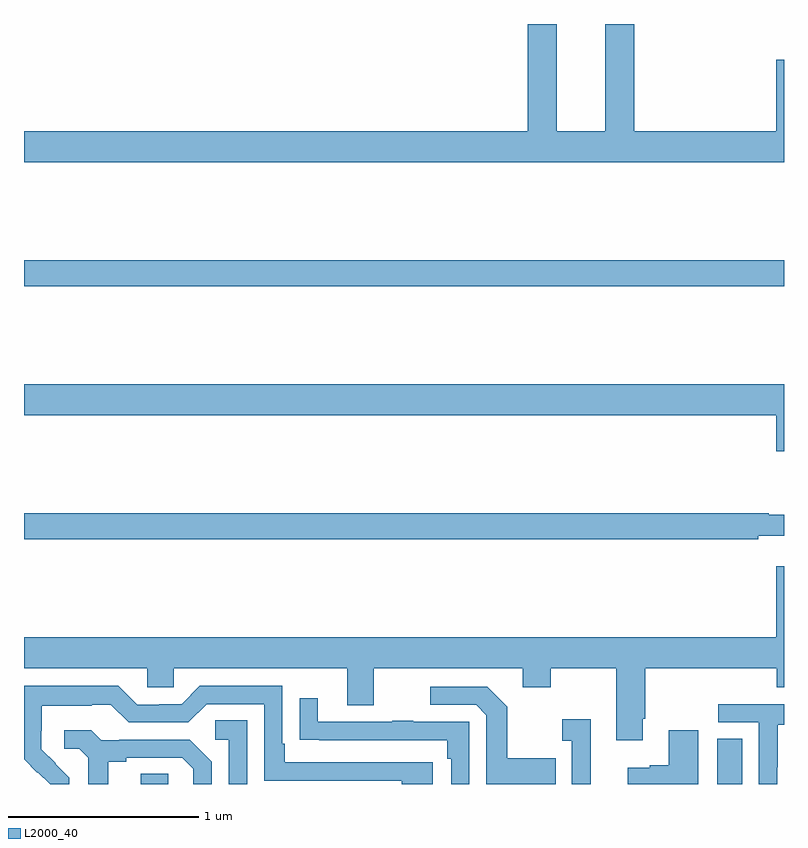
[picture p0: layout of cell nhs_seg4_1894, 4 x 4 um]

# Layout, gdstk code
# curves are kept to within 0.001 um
import gdstk
lib = gdstk.Library(unit=1e-6, precision=1e-09)
def R(c, l, rs):  # rectangles x0, y0, x1, y1
    for r in rs: c.add(gdstk.rectangle(r[:2], r[2:], *l))
def P(c, l, *ps):  # polygons
    for p in ps: c.add(gdstk.Polygon(p, *l))
L2000_40 = (2000, 40)

nhs_seg4_1894 = lib.new_cell('nhs_seg4_1894')
R(nhs_seg4_1894, L2000_40, [(209.615,774.9,209.76,774.953), (212.648,774.9,212.779,775.139), (209,777.52,213,777.656)])
P(nhs_seg4_1894, L2000_40, [(213,778.711),(212.96,778.711),(212.96,778.336),(212.213,778.336),(212.213,778.9),(212.06,778.9),(212.06,778.336),(211.804,778.336),(211.804,778.9),(211.652,778.9),(211.652,778.336),(209,778.336),(209,778.172),(213,778.172)],
  [(213,777.004),(209,777.004),(209,776.84),(212.96,776.84),(212.96,776.652),(213,776.652)],
  [(212.864,776.207),(213,776.207),(213,776.317),(212.92,776.317),(212.92,776.324),(209,776.324),(209,776.188),(212.864,776.188)],
  [(212.257,775.243),(212.27,775.243),(212.27,775.508),(212.963,775.508),(212.963,775.409),(213,775.409),(213,776.047),(212.96,776.047),(212.96,775.672),(209,775.672),(209,775.508),(209.649,775.508),(209.649,775.41),(209.787,775.41),(209.787,775.508),(210.701,775.508),(210.701,775.314),(210.841,775.314),(210.841,775.508),(211.625,775.508),(211.625,775.409),(211.773,775.409),(211.773,775.508),(212.117,775.508),(212.117,775.131),(212.257,775.131)],
  [(209.238,774.934),(209.092,775.082),(209.092,775.179),(209.094,775.179),(209.094,775.313),(209.357,775.313),(209.357,775.317),(209.457,775.317),(209.55,775.224),(209.865,775.224),(209.961,775.32),(210.264,775.32),(210.264,774.918),(210.989,774.918),(210.989,774.9),(211.15,774.9),(211.15,775.014),(210.373,775.014),(210.373,775.111),(210.36,775.111),(210.36,775.416),(209.925,775.416),(209.829,775.32),(209.711,775.32),(209.711,775.317),(209.595,775.317),(209.495,775.417),(209,775.417),(209,775.03),(209.07,774.96),(209.073,774.963),(209.137,774.9),(209.238,774.9)],
  [(211.799,775.035),(211.543,775.035),(211.543,775.307),(211.437,775.413),(211.137,775.413),(211.137,775.317),(211.38,775.317),(211.434,775.263),(211.434,774.9),(211.799,774.9)],
  [(211.344,775.227),(211.049,775.227),(211.049,775.232),(210.937,775.232),(210.937,775.227),(210.547,775.227),(210.547,775.351),(210.451,775.351),(210.451,775.132),(210.553,775.132),(210.553,775.131),(211.228,775.131),(211.228,775.034),(211.248,775.034),(211.248,774.9),(211.344,774.9)],
  [(212.964,774.988),(212.967,774.988),(212.967,775.212),(213,775.212),(213,775.32),(212.655,775.32),(212.655,775.224),(212.868,775.224),(212.868,774.9),(212.964,774.9)],
  [(211.982,775.24),(211.833,775.24),(211.833,775.127),(211.884,775.127),(211.884,774.9),(211.982,774.9)],
  [(210.174,775.235),(210.006,775.235),(210.006,775.134),(210.078,775.134),(210.078,774.9),(210.174,774.9)],
  [(209.443,775.016),(209.539,775.016),(209.539,775.038),(209.834,775.038),(209.891,774.981),(209.891,774.9),(209.988,774.9),(209.988,775.018),(209.872,775.134),(209.5,775.134),(209.5,775.131),(209.406,775.131),(209.354,775.183),(209.211,775.183),(209.211,775.086),(209.292,775.086),(209.339,775.039),(209.339,774.9),(209.443,774.9)],
  [(212.548,775.183),(212.393,775.183),(212.393,774.998),(212.294,774.998),(212.294,774.985),(212.178,774.985),(212.178,774.9),(212.548,774.9)])

lib.write_gds('nhs_seg4_1894.gds')
